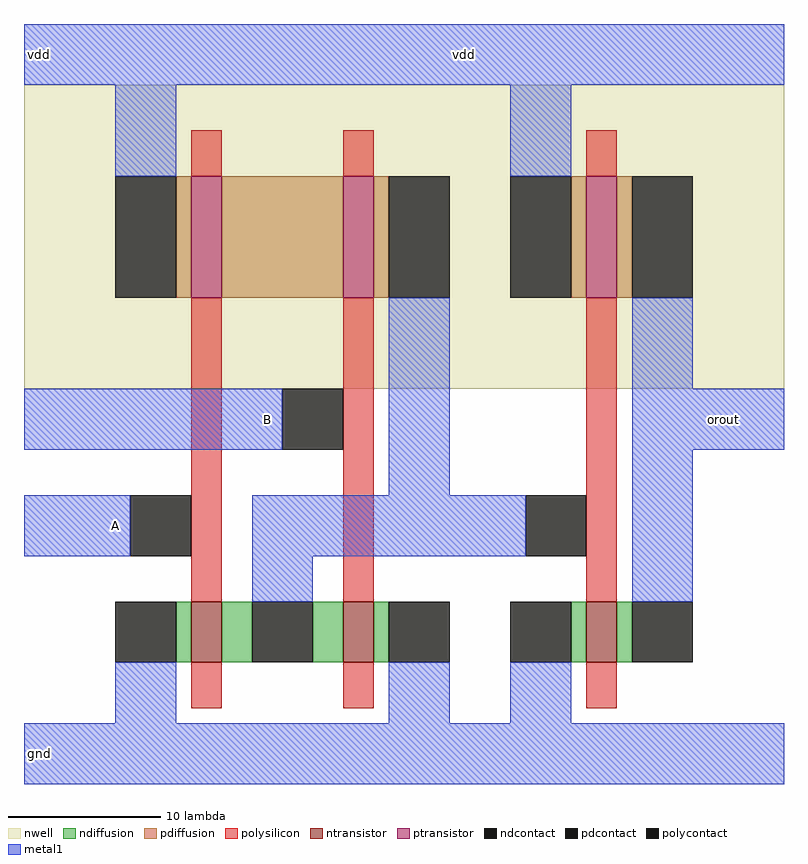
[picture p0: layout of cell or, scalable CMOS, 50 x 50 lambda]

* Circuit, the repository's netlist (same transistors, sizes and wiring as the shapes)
* SPICE3 file created from or.ext - technology: scmos

.include TSMC_180nm.txt
.param SUPPLY=1.8
.option scale=0.09u
.global vdd gnd

Vdd vdd gnd SUPPLY
Va A gnd pulse 0 1.8 0ns 0.1ns 0.1ns 9.9ns 20ns
Vb B gnd pulse 0 1.8 0ns 0.1ns 0.1ns 19.9ns 40ns

M1000 orout a_13_n15# gnd Gnd CMOSN w=4 l=2
+  ad=20 pd=18 as=60 ps=54
M1001 a_13_n15# B a_13_9# w_0_3# CMOSP w=8 l=2
+  ad=40 pd=26 as=64 ps=32
M1002 gnd B a_13_n15# Gnd CMOSN w=4 l=2
+  ad=0 pd=0 as=32 ps=24
M1003 a_13_9# A vdd w_0_3# CMOSP w=8 l=2
+  ad=0 pd=0 as=80 ps=52
M1004 a_13_n15# A gnd Gnd CMOSN w=4 l=2
+  ad=0 pd=0 as=0 ps=0
M1005 orout a_13_n15# vdd w_0_3# CMOSP w=8 l=2
+  ad=40 pd=26 as=0 ps=0
.tran 0.1n 80n

.control
run
plot v(A)
plot v(B)

plot  v(orout)

.endc
.end

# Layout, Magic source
magic
tech scmos
<< nwell >>
rect 0 3 50 23
<< ntransistor >>
rect 11 -15 13 -11
rect 21 -15 23 -11
rect 37 -15 39 -11
<< ptransistor >>
rect 11 9 13 17
rect 21 9 23 17
rect 37 9 39 17
<< ndiffusion >>
rect 10 -15 11 -11
rect 13 -15 15 -11
rect 19 -15 21 -11
rect 23 -15 24 -11
rect 36 -15 37 -11
rect 39 -15 40 -11
<< pdiffusion >>
rect 10 9 11 17
rect 13 9 21 17
rect 23 9 24 17
rect 36 9 37 17
rect 39 9 40 17
<< ndcontact >>
rect 6 -15 10 -11
rect 15 -15 19 -11
rect 24 -15 28 -11
rect 32 -15 36 -11
rect 40 -15 44 -11
<< pdcontact >>
rect 6 9 10 17
rect 24 9 28 17
rect 32 9 36 17
rect 40 9 44 17
<< polysilicon >>
rect 11 17 13 20
rect 21 17 23 20
rect 37 17 39 20
rect 11 -11 13 9
rect 21 -11 23 9
rect 37 -11 39 9
rect 11 -18 13 -15
rect 21 -18 23 -15
rect 37 -18 39 -15
<< polycontact >>
rect 7 -8 11 -4
rect 17 -1 21 3
rect 33 -8 37 -4
<< metal1 >>
rect 0 23 50 27
rect 6 17 10 23
rect 32 17 36 23
rect 0 -1 17 3
rect 24 -4 28 9
rect 40 3 44 9
rect 40 -1 50 3
rect 0 -8 7 -4
rect 15 -8 33 -4
rect 15 -11 19 -8
rect 40 -11 44 -1
rect 6 -19 10 -15
rect 24 -19 28 -15
rect 32 -19 36 -15
rect 0 -23 50 -19
<< labels >>
rlabel metal1 1 25 1 25 4 vdd
rlabel metal1 29 25 29 25 4 vdd
rlabel metal1 16 1 16 1 1 B
rlabel metal1 1 -21 1 -21 2 gnd
rlabel metal1 6 -6 6 -6 1 A
rlabel metal1 46 1 46 1 7 orout
<< end >>
